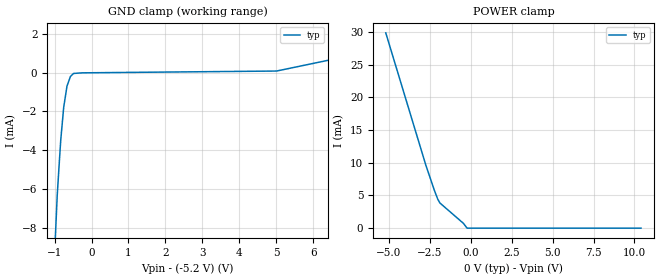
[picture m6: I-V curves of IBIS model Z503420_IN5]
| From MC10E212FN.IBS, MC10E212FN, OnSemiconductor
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| (C) COPYRIGHT 1993-2000
| MENTOR GRAPHICS CORPORATION
| ICX STANDARD LIBRARY, ICX PROJECT MODELING,
| ICX CUSTOM MODELING, ICX VENDOR MODEL
| ALL RIGHTS RESERVED.
| THE FOLLOWING ARE TRADEMARKS OR SERVICE MARKS OF
| MENTOR GRAPHICS CORPORATION:ICX (R), ICX STANDARD
| LIBRARY(R), ICX PROJECT MODELING(R), ICX CUSTOM
| MODELING(R), qualityIBIS(TM), MODELVIEWER(TM),
| AND MODELEDITOR(TM)
| ALL COPIES OF SOFTWARE, INCLUDING BUT NOT LIMITED TO
| ANY MODIFICATIONS, ENHANCEMENTS OR DERIVATIVE WORKS,
| MUST CONTAIN ALL MENTOR GRAPHICS CORPORATION'S
| NOTICES AND LEGENDS, INCLUDING THOSE EMBEDDED IN
| SOFTWARE AND THOSE AFFIXED TO SOFTWARE MEDIUM
| AND CONTAINER, AS RECEIVED FROM MENTOR GRAPHICS
| CORPORATION.
| Model Application Version 1.89 2/18/99.
[Model] Z503420_IN5
Model_type Input_ECL
Vinl = -1.480V
Vinh = -1.130V
C_comp 4.000pF NA NA
| variable typ   min   max
[Voltage Range] -5.200V NA NA
[GND Clamp Reference] -5.200V NA NA
[POWER Clamp Reference] 0.000V NA NA
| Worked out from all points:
|   GND clamp passes 1 mA (typ) near -0.69 V on its own axis
[GND Clamp]
-5.2V     -252.2mA   NA         NA
-1.08V    -12.79mA   NA         NA
-928mV    -6.304mA   NA         NA
-835mV    -3.514mA   NA         NA
-753mV    -1.786mA   NA         NA
-664mV    -695.7uA   NA         NA
-571mV    -204.6uA   NA         NA
-488mV    -46.8uA    NA         NA
-244mV    -14.91uA   NA         NA
5.01V     77.66uA    NA         NA
10.4V     2.219mA    NA         NA
[POWER Clamp]
-5.2V     29.84mA    NA         NA
-2.754V   9.653mA    NA         NA
-2.236V   5.821mA    NA         NA
-2.031V   4.482mA    NA         NA
-1.895V   3.855mA    NA         NA
-458.8mV  745.7uA    NA         NA
-229.4mV  0A         NA         NA
10.4V     0A         NA         NA
